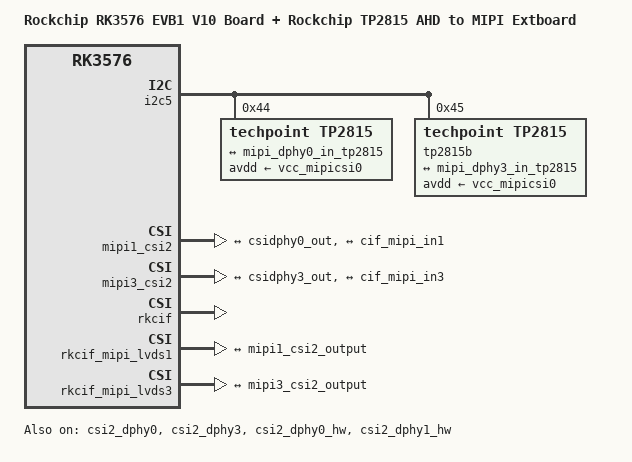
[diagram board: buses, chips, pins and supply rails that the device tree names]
// SPDX-License-Identifier: (GPL-2.0+ OR MIT)
/*
 * Copyright (c) 2024 Rockchip Electronics Co., Ltd.
 *
 */

/dts-v1/;

#include "rk3576.dtsi"
#include "rk3576-evb1.dtsi"
#include "rk3576-android.dtsi"

/ {
	model = "Rockchip RK3576 EVB1 V10 Board + Rockchip TP2815 AHD to MIPI Extboard";
	compatible = "rockchip,rk3576-evb1-v10", "rockchip,rk3576";
};

&csi2_dphy0 {
	status = "okay";

	ports {
		#address-cells = <1>;
		#size-cells = <0>;
		port@0 {
			reg = <0>;
			#address-cells = <1>;
			#size-cells = <0>;

			mipi_dphy0_in_tp2815: endpoint@1 {
				reg = <1>;
				remote-endpoint = <&tp2815_out0>;
				data-lanes = <1 2 3 4>;
			};
		};
		port@1 {
			reg = <1>;
			#address-cells = <1>;
			#size-cells = <0>;

			csidphy0_out: endpoint@0 {
				reg = <0>;
				remote-endpoint = <&mipi1_csi2_input>;
			};
		};
	};
};

&csi2_dphy3 {
	status = "okay";

	ports {
		#address-cells = <1>;
		#size-cells = <0>;
		port@0 {
			reg = <0>;
			#address-cells = <1>;
			#size-cells = <0>;

			mipi_dphy3_in_tp2815: endpoint@1 {
				reg = <1>;
				remote-endpoint = <&tp2815_out1>;
				data-lanes = <1 2 3 4>;
			};
		};
		port@1 {
			reg = <1>;
			#address-cells = <1>;
			#size-cells = <0>;

			csidphy3_out: endpoint@0 {
				reg = <0>;
				remote-endpoint = <&mipi3_csi2_input>;
			};
		};
	};
};

&csi2_dphy0_hw {
	status = "okay";
};

&csi2_dphy1_hw {
	status = "okay";
};

&i2c5 {
	status = "okay";
	pinctrl-names = "default";
	pinctrl-0 = <&i2c5m3_xfer>;

	tp2815: tp2815@44 {
		compatible = "techpoint,tp2815";
		status = "okay";
		reg = <0x44>;
		clocks = <&cru CLK_MIPI_CAMERAOUT_M1>;
		clock-names = "xvclk";
		power-domains = <&power RK3576_PD_VI>;
		pinctrl-names = "default";
		pinctrl-0 = <&cam_clk1m0_clk1>;
		avdd-supply = <&vcc_mipicsi0>;
		rockchip,camera-module-index = <0>;
		rockchip,camera-module-facing = "back";
		rockchip,camera-module-name = "default";
		rockchip,camera-module-lens-name = "default";

		port {
			tp2815_out0: endpoint {
				remote-endpoint = <&mipi_dphy0_in_tp2815>;
				data-lanes = <1 2 3 4>;
			};
		};
	};

	tp2815b: tp2815b@45 {
		compatible = "techpoint,tp2815";
		status = "okay";
		reg = <0x45>;
		clocks = <&cru CLK_MIPI_CAMERAOUT_M1>;
		clock-names = "xvclk";
		power-domains = <&power RK3576_PD_VI>;
		pinctrl-names = "default";
		pinctrl-0 = <&cam_clk1m0_clk1>;
		avdd-supply = <&vcc_mipicsi0>;
		rockchip,camera-module-index = <0>;
		rockchip,camera-module-facing = "back";
		rockchip,camera-module-name = "default";
		rockchip,camera-module-lens-name = "default";

		port {
			tp2815_out1: endpoint {
				remote-endpoint = <&mipi_dphy3_in_tp2815>;
				data-lanes = <1 2 3 4>;
			};
		};
	};
};

&mipi1_csi2 {
	status = "okay";

	ports {
		#address-cells = <1>;
		#size-cells = <0>;

		port@0 {
			reg = <0>;
			#address-cells = <1>;
			#size-cells = <0>;

			mipi1_csi2_input: endpoint@1 {
				reg = <1>;
				remote-endpoint = <&csidphy0_out>;
			};
		};

		port@1 {
			reg = <1>;
			#address-cells = <1>;
			#size-cells = <0>;

			mipi1_csi2_output: endpoint@0 {
				reg = <0>;
				remote-endpoint = <&cif_mipi_in1>;
			};
		};
	};
};

&mipi3_csi2 {
	status = "okay";

	ports {
		#address-cells = <1>;
		#size-cells = <0>;

		port@0 {
			reg = <0>;
			#address-cells = <1>;
			#size-cells = <0>;

			mipi3_csi2_input: endpoint@1 {
				reg = <1>;
				remote-endpoint = <&csidphy3_out>;
			};
		};

		port@1 {
			reg = <1>;
			#address-cells = <1>;
			#size-cells = <0>;

			mipi3_csi2_output: endpoint@0 {
				reg = <0>;
				remote-endpoint = <&cif_mipi_in3>;
			};
		};
	};
};

&rkcif {
	status = "okay";
};

&rkcif_mipi_lvds1 {
	status = "okay";

	port {
		cif_mipi_in1: endpoint {
			remote-endpoint = <&mipi1_csi2_output>;
		};
	};
};

&rkcif_mipi_lvds3 {
	status = "okay";

	port {
		cif_mipi_in3: endpoint {
			remote-endpoint = <&mipi3_csi2_output>;
		};
	};
};

&rkcif_mmu {
	status = "okay";
};
